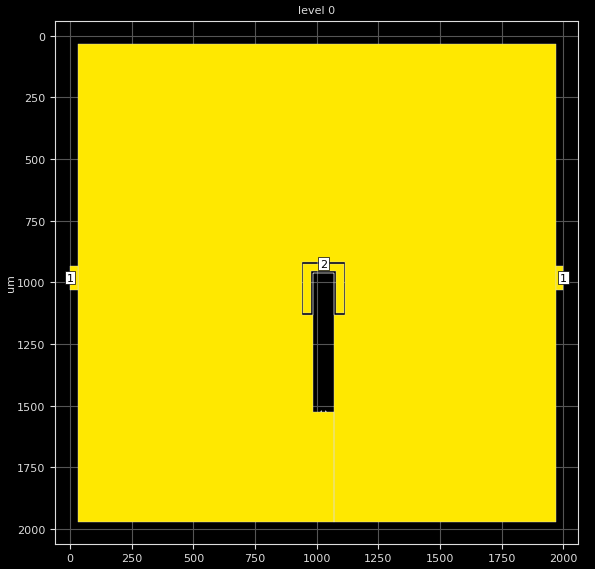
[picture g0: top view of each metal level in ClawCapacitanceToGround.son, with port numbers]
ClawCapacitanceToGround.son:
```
FTYP SONPROJ 15 ! Sonnet Project File
VER 16.52
HEADER
LIC calt2.2.43068 b6ae2bd1257f DESKTOP-SL82IK9 Michael
DAT 07/15/2016 12:27:50
BUILT_BY_CREATED xgeom 16.52 04/11/2016 14:48:12
BUILT_BY_SAVED xgeom 16.52
MDATE 07/15/2016 12:27:44
HDATE 07/15/2016 12:27:44
END HEADER
DIM
FREQ GHZ
IND NH
LNG UM
ANG DEG
CON /OH
CAP PF
RES OH
END DIM
FREQ
ABS 5.0 26.0 
STEP 0.1
END FREQ
CONTROL
STD
OPTIONS  -d 
SPEED 0
CACHE_ABS 1
TARG_ABS 300
Q_ACC N
END CONTROL
GEO
DRP1 LEFT FIX 30
DRP1 RIGHT FIX 30
TMET "Free Space" 0 FREESPACE 376.7303136 0 0 0
BMET "Lossless" 0 SUP 0 0 0 0
BOX 1 2000 2000 4000 4000 20 0
      1000 1 1 0 0 0 0 "Unnamed"
      500 11.9 1 5e-006 0 0 0 "Silicon (intrinsic)"
VALVAR gap LNG 6 "Dim. Param."
VALVAR thickness NONE 32 "Dim. Param."
VALVAR ClawLength NONE 170 "Dim. Param."
LORGN 0 2000 U 
POR1 AGND
POLY 14 1
0
2 50 0 0 0 1027 924 NONE 
POR1 STD
POLY 37 1
3
1 50 0 0 0 0 981 
POR1 STD
POLY 38 1
1
1 50 0 0 0 2000 981 
NUM 4
0 35 -1 N 13 1 1 100 100 0 0 0 Y
1969.999909 32.00000216
30.00000952 32.00000216
30.00000952 1969.999979
1069 1969.999979
1069 1525
1038 1525
1038 1521
1034 1521
1034 1523
1036 1523
1036 1525
1018 1525
1018 1523
1020 1523
1020 1521
1016 1521
1016 1525
985 1525
985 964
985 962
983 962
983 1132
939 1132
939 918
1115 918
1115 1132
1071 1132
1071 962
985 962
985 964
1069 964
1069 1525
1069 1969.999979
1969.999909 1969.999979
1969.999909 32.00000216
END
0 9 -1 N 14 1 1 100 100 0 0 0 Y
1109 924
945 924
945 1126
977 1126
977 956
1077 956
1077 1126
1109 1126
1109 924
END
0 5 -1 N 37 1 1 100 100 0 0 0 Y
0 932
30 932
30 1030
0 1030
0 932
END
0 5 -1 N 38 1 1 100 100 0 0 0 Y
1970 932
2000 932
2000 1030
1970 1030
1970 932
END
END GEO
OPT
MAX 100
VARS
VAR gap N UNDEF UNDEF UNDEF
VAR thickness N UNDEF UNDEF UNDEF
VAR ClawLength N UNDEF UNDEF UNDEF
END
END OPT
VARSWP
STEP 0.1
VAR gap N 6.0 6.0 UNDEF
VAR thickness Y 28.0 32.0 4.0
VAR ClawLength Y 120.0 200.0 40.0
END
END VARSWP
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```
